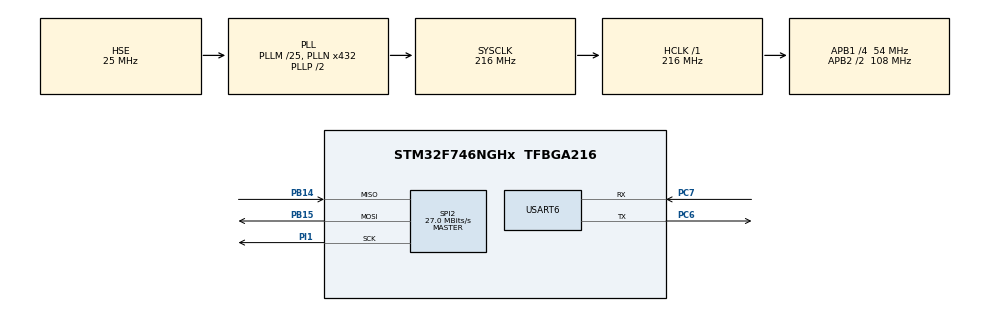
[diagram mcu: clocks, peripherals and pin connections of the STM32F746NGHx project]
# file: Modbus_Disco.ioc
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CRC.CRCLength=CRC_POLYLENGTH_16B
CRC.DefaultInitValueUse=DEFAULT_INIT_VALUE_DISABLE
CRC.DefaultPolynomialUse=DEFAULT_POLYNOMIAL_DISABLE
CRC.GeneratingPolynomial=X15+X2+X0
CRC.InitValue=0xFFFF
CRC.InputDataInversionMode=CRC_INPUTDATA_INVERSION_BYTE
CRC.OutputDataInversionMode=CRC_OUTPUTDATA_INVERSION_ENABLE
Dma.Request0=USART6_RX
Dma.Request1=USART6_TX
Dma.USART6_RX.0.Direction=DMA_PERIPH_TO_MEMORY
Dma.USART6_RX.0.FIFOMode=DMA_FIFOMODE_DISABLE
Dma.USART6_RX.0.Instance=DMA2_Stream1
Dma.USART6_RX.0.MemDataAlignment=DMA_MDATAALIGN_BYTE
Dma.USART6_RX.0.MemInc=DMA_MINC_ENABLE
Dma.USART6_RX.0.Mode=DMA_NORMAL
Dma.USART6_RX.0.PeriphDataAlignment=DMA_PDATAALIGN_BYTE
Dma.USART6_RX.0.PeriphInc=DMA_PINC_DISABLE
Dma.USART6_RX.0.Priority=DMA_PRIORITY_MEDIUM
Dma.USART6_TX.1.Direction=DMA_MEMORY_TO_PERIPH
Dma.USART6_TX.1.FIFOMode=DMA_FIFOMODE_DISABLE
Dma.USART6_TX.1.Instance=DMA2_Stream6
Dma.USART6_TX.1.MemDataAlignment=DMA_MDATAALIGN_BYTE
Dma.USART6_TX.1.MemInc=DMA_MINC_ENABLE
Dma.USART6_TX.1.Mode=DMA_NORMAL
Dma.USART6_TX.1.PeriphDataAlignment=DMA_PDATAALIGN_BYTE
Dma.USART6_TX.1.PeriphInc=DMA_PINC_DISABLE
Dma.USART6_TX.1.Priority=DMA_PRIORITY_MEDIUM
FREERTOS.Tasks01=defaultTask,0,128,StartDefaultTask,Default,NULL,Dynamic,NULL,NULL
FREERTOS.configGENERATE_RUN_TIME_STATS=1
FREERTOS.configTOTAL_HEAP_SIZE=32768
FREERTOS.configUSE_STATS_FORMATTING_FUNCTIONS=1
FREERTOS.configUSE_TRACE_FACILITY=1
Mcu.Family=STM32F7
Mcu.Name=STM32F746NGHx
Mcu.Package=TFBGA216
NVIC.DMA2_Stream1_IRQn=true\:5\:0\:false\:false\:true\:true\:false
NVIC.DMA2_Stream6_IRQn=true\:5\:0\:false\:false\:true\:true\:false
NVIC.PriorityGroup=NVIC_PRIORITYGROUP_4
NVIC.TIM1_UP_TIM10_IRQn=true\:0\:0\:false\:false\:true\:false\:false
NVIC.TimeBase=TIM1_UP_TIM10_IRQn
NVIC.TimeBaseIP=TIM1
NVIC.USART6_IRQn=true\:5\:0\:false\:false\:true\:true\:true
PA13.Mode=Serial_Wire
PA13.Signal=SYS_JTMS-SWDIO
PA14.Mode=Serial_Wire
PA14.Signal=SYS_JTCK-SWCLK
PB14.Mode=Full_Duplex_Master
PB14.Signal=SPI2_MISO
PB15.Mode=Full_Duplex_Master
PB15.Signal=SPI2_MOSI
PC6.Mode=Asynchronous
PC6.Signal=USART6_TX
PC7.Mode=Asynchronous
PC7.Signal=USART6_RX
PH0/OSC_IN.Mode=HSE-External-Oscillator
PH0/OSC_IN.Signal=RCC_OSC_IN
PH1/OSC_OUT.Mode=HSE-External-Oscillator
PH1/OSC_OUT.Signal=RCC_OSC_OUT
PI1.Mode=Full_Duplex_Master
PI1.Signal=SPI2_SCK
ProjectManager.HeapSize=0x2000
ProjectManager.StackSize=0x4000
ProjectManager.TargetToolchain=Other Toolchains (GPDSC)
RCC.AHBFreq_Value=216000000
RCC.APB1CLKDivider=RCC_HCLK_DIV4
RCC.APB1Freq_Value=54000000
RCC.APB1TimFreq_Value=108000000
RCC.APB2CLKDivider=RCC_HCLK_DIV2
RCC.APB2Freq_Value=108000000
RCC.APB2TimFreq_Value=216000000
RCC.CortexFreq_Value=216000000
RCC.HCLKFreq_Value=216000000
RCC.HSE_VALUE=25000000
RCC.HSI_VALUE=16000000
RCC.LSE_VALUE=32768
RCC.PLLM=25
RCC.PLLN=432
RCC.PLLQ=9
RCC.PLLSourceVirtual=RCC_PLLSOURCE_HSE
RCC.SYSCLKFreq_VALUE=216000000
RCC.SYSCLKSource=RCC_SYSCLKSOURCE_PLLCLK
RCC.USBFreq_Value=48000000
RCC.VCOOutputFreq_Value=432000000
SPI2.CalculateBaudRate=27.0 MBits/s
SPI2.Direction=SPI_DIRECTION_2LINES
SPI2.Mode=SPI_MODE_MASTER
SPI2.VirtualType=VM_MASTER
TIM5.AutoReloadPreload=TIM_AUTORELOAD_PRELOAD_ENABLE
TIM5.Period=0xFFFFFFFF
TIM5.Prescaler=107
USART6.DMADisableonRxErrorParam=ADVFEATURE_DMA_DISABLEONRXERROR
USART6.OverrunDisableParam=ADVFEATURE_OVERRUN_DISABLE
USART6.VirtualMode-Asynchronous=VM_ASYNC
VP_CRC_VS_CRC.Mode=CRC_Activate
VP_FREERTOS_VS_ENABLE.Mode=Enabled
VP_RNG_VS_RNG.Mode=RNG_Activate
VP_SYS_VS_tim1.Mode=TIM1
VP_TIM5_VS_ClockSourceINT.Mode=Internal
board=custom

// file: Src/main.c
/**
  ******************************************************************************
  * @file           : main.c
  * @brief          : Main program body
  ******************************************************************************
  * This notice applies to any and all portions of this file
  * that are not between comment pairs USER CODE BEGIN and
  * USER CODE END. Other portions of this file, whether
  * inserted by the user or by software development tools
  * are owned by their respective copyright owners.
  *
  * Copyright (c) 2020 STMicroelectronics International N.V.
  * All rights reserved.
  *
  * Redistribution and use in source and binary forms, with or without
  * modification, are permitted, provided that the following conditions are met:
  *
  * 1. Redistribution of source code must retain the above copyright notice,
  *    this list of conditions and the following disclaimer.
  * 2. Redistributions in binary form must reproduce the above copyright notice,
  *    this list of conditions and the following disclaimer in the documentation
  *    and/or other materials provided with the distribution.
  * 3. Neither the name of STMicroelectronics nor the names of other
  *    contributors to this software may be used to endorse or promote products
  *    derived from this software without specific written permission.
  * 4. This software, including modifications and/or derivative works of this
  *    software, must execute solely and exclusively on microcontroller or
  *    microprocessor devices manufactured by or for STMicroelectronics.
  * 5. Redistribution and use of this software other than as permitted under
  *    this license is void and will automatically terminate your rights under
  *    this license.
  *
  * THIS SOFTWARE IS PROVIDED BY STMICROELECTRONICS AND CONTRIBUTORS "AS IS"
  * AND ANY EXPRESS, IMPLIED OR STATUTORY WARRANTIES, INCLUDING, BUT NOT
  * LIMITED TO, THE IMPLIED WARRANTIES OF MERCHANTABILITY, FITNESS FOR A
  * PARTICULAR PURPOSE AND NON-INFRINGEMENT OF THIRD PARTY INTELLECTUAL PROPERTY
  * RIGHTS ARE DISCLAIMED TO THE FULLEST EXTENT PERMITTED BY LAW. IN NO EVENT
  * SHALL STMICROELECTRONICS OR CONTRIBUTORS BE LIABLE FOR ANY DIRECT, INDIRECT,
  * INCIDENTAL, SPECIAL, EXEMPLARY, OR CONSEQUENTIAL DAMAGES (INCLUDING, BUT NOT
  * LIMITED TO, PROCUREMENT OF SUBSTITUTE GOODS OR SERVICES; LOSS OF USE, DATA,
  * OR PROFITS; OR BUSINESS INTERRUPTION) HOWEVER CAUSED AND ON ANY THEORY OF
  * LIABILITY, WHETHER IN CONTRACT, STRICT LIABILITY, OR TORT (INCLUDING
  * NEGLIGENCE OR OTHERWISE) ARISING IN ANY WAY OUT OF THE USE OF THIS SOFTWARE,
  * EVEN IF ADVISED OF THE POSSIBILITY OF SUCH DAMAGE.
  *
  ******************************************************************************
  */
#include "main.h"
#include "stm32f7xx_hal.h"
#include "cmsis_os.h"

/* USER CODE BEGIN Includes */
#include "mb_master.h"
#include "mb_slave.h"
#include "data_structs.h"

/* USER CODE END Includes */

CRC_HandleTypeDef hcrc;

RNG_HandleTypeDef hrng;

SPI_HandleTypeDef hspi2;

TIM_HandleTypeDef htim5;

UART_HandleTypeDef huart6;
DMA_HandleTypeDef hdma_usart6_rx;
DMA_HandleTypeDef hdma_usart6_tx;

osThreadId defaultTaskHandle;

/* USER CODE BEGIN PV */
/* Private variables ---------------------------------------------------------*/

/* USER CODE END PV */

void SystemClock_Config(void);
static void MX_GPIO_Init(void);
static void MX_DMA_Init(void);
static void MX_CRC_Init(void);
static void MX_USART6_UART_Init(void);
static void MX_TIM5_Init(void);
static void MX_SPI2_Init(void);
static void MX_RNG_Init(void);
void StartDefaultTask(void const * argument);

/* USER CODE BEGIN PFP */
/* Private function prototypes -----------------------------------------------*/

/* USER CODE END PFP */

/* USER CODE BEGIN 0 */
xSemaphoreHandle float_mutex = NULL;
uint8_t testInpReg00_10[20] =
	{1, 2, 3, 4, 5, 6, 7, 8, 9, 0, 11, 12, 13, 14, 15, 16, 17, 18, 19, 20};

uint16_t testInpReg30_40[10] =
	{512, 2000, 3000, 4000, 5000, 6000, 7000, 256, 256, 512};

float testInpReg40_50[5] =
	{3.14f, 1.01f, 2.02f, 3.03f, 4.04f};

DS_Device_Info_16 Device_Info_16 =
	{0x5264, 1, 0, 0, 0, 1, 2, 0};
DS_Device_Info_Str Device_Info_Str =
	{"R100.1", "1.00", "15.01.2021", "No note"};

xSemaphoreHandle Device_Info_Mutex = NULL;

MB_SlaveReg_t MB_Reg[] =
	{
		//Регистры в которых содержится информация о приборе
		{MB_REG_INPUT, 0, 7, &Device_Info_16, sizeof(Device_Info_16), &Device_Info_Mutex, NULL, MB_RF_BIG_ENDIAN},
		{MB_REG_INPUT, 8, 95, &Device_Info_Str, sizeof(Device_Info_Str), &Device_Info_Mutex, NULL, MB_RF_DATA},

		//Настройки c 5000
		//Настройка Slave ID
		//{MB_REG_HOLDING, 5000, 5000, testInpReg40_50, 20, &float_mutex, NULL, MB_RF_BIG_ENDIAN},

		{MB_REG_HOLDING, 30, 39, testInpReg30_40, 10, NULL, NULL, MB_RF_DATA},
		{MB_REG_HOLDING, 40, 49, testInpReg40_50, 20, &float_mutex, NULL, MB_RF_BIG_ENDIAN},

		{MB_REG_INPUT, 1000, 1009, testInpReg00_10, 20, NULL, NULL, MB_RF_DATA},
		{MB_REG_INPUT, 1030, 1039, testInpReg30_40, 19, NULL, NULL, MB_RF_DATA},
		{MB_REG_INPUT, 1040, 1049, testInpReg40_50, 20, &float_mutex, NULL, MB_RF_DATA},
		{MB_REG_INPUT, 0, 0, NULL, 0, NULL, NULL, MB_RF_DATA} //конец
	};

/* USER CODE END 0 */

int main(void)
{

  /* MCU Configuration----------------------------------------------------------*/

  /* Reset of all peripherals, Initializes the Flash interface and the Systick. */
  HAL_Init();

  /* Configure the system clock */
  SystemClock_Config();

  /* Initialize all configured peripherals */
  MX_GPIO_Init();
  MX_DMA_Init();
  MX_CRC_Init();
  MX_USART6_UART_Init();
  MX_TIM5_Init();
  MX_SPI2_Init();
  MX_RNG_Init();
  /* USER CODE BEGIN 2 */

  __HAL_DBGMCU_FREEZE_IWDG();
  __HAL_DBGMCU_FREEZE_TIM1();

  float_mutex = xSemaphoreCreateMutex();
  Device_Info_Mutex = xSemaphoreCreateMutex();
  MB_Slave_Init_Registers(MB_Reg);
  MB_Slave_Init_RTU(1, &huart6);
  //MB_Slave_Init_RTUs(1,1, &huart6);

  //MB_RTU_Init(&mb_hw);
  //mb_rtu_receive_adu(&mb_hw);

  /* USER CODE END 2 */

  /* Create the thread(s) */
  /* definition and creation of defaultTask */
  osThreadDef(defaultTask, StartDefaultTask, osPriorityNormal, 0, 128);
  defaultTaskHandle = osThreadCreate(osThread(defaultTask), NULL);

  /* Start scheduler */
  osKernelStart();

  /* We should never get here as control is now taken by the scheduler */

  /* Infinite loop */
  while (1)
  {

  }

}

void SystemClock_Config(void)
{

  RCC_OscInitTypeDef RCC_OscInitStruct;
  RCC_ClkInitTypeDef RCC_ClkInitStruct;
  RCC_PeriphCLKInitTypeDef PeriphClkInitStruct;

    /**Configure the main internal regulator output voltage
    */
  __HAL_RCC_PWR_CLK_ENABLE();

  __HAL_PWR_VOLTAGESCALING_CONFIG(PWR_REGULATOR_VOLTAGE_SCALE1);

    /**Initializes the CPU, AHB and APB busses clocks
    */
  RCC_OscInitStruct.OscillatorType = RCC_OSCILLATORTYPE_HSE;
  RCC_OscInitStruct.HSEState = RCC_HSE_ON;
  RCC_OscInitStruct.PLL.PLLState = RCC_PLL_ON;
  RCC_OscInitStruct.PLL.PLLSource = RCC_PLLSOURCE_HSE;
  RCC_OscInitStruct.PLL.PLLM = 25;
  RCC_OscInitStruct.PLL.PLLN = 432;
  RCC_OscInitStruct.PLL.PLLP = RCC_PLLP_DIV2;
  RCC_OscInitStruct.PLL.PLLQ = 9;
  if (HAL_RCC_OscConfig(&RCC_OscInitStruct) != HAL_OK)
  {
    _Error_Handler(__FILE__, __LINE__);
  }

    /**Activate the Over-Drive mode
    */
  if (HAL_PWREx_EnableOverDrive() != HAL_OK)
  {
    _Error_Handler(__FILE__, __LINE__);
  }

    /**Initializes the CPU, AHB and APB busses clocks
    */
  RCC_ClkInitStruct.ClockType = RCC_CLOCKTYPE_HCLK|RCC_CLOCKTYPE_SYSCLK
                              |RCC_CLOCKTYPE_PCLK1|RCC_CLOCKTYPE_PCLK2;
  RCC_ClkInitStruct.SYSCLKSource = RCC_SYSCLKSOURCE_PLLCLK;
  RCC_ClkInitStruct.AHBCLKDivider = RCC_SYSCLK_DIV1;
  RCC_ClkInitStruct.APB1CLKDivider = RCC_HCLK_DIV4;
  RCC_ClkInitStruct.APB2CLKDivider = RCC_HCLK_DIV2;

  if (HAL_RCC_ClockConfig(&RCC_ClkInitStruct, FLASH_LATENCY_7) != HAL_OK)
  {
    _Error_Handler(__FILE__, __LINE__);
  }

  PeriphClkInitStruct.PeriphClockSelection = RCC_PERIPHCLK_USART6|RCC_PERIPHCLK_CLK48;
  PeriphClkInitStruct.Usart6ClockSelection = RCC_USART6CLKSOURCE_PCLK2;
  PeriphClkInitStruct.Clk48ClockSelection = RCC_CLK48SOURCE_PLL;
  if (HAL_RCCEx_PeriphCLKConfig(&PeriphClkInitStruct) != HAL_OK)
  {
    _Error_Handler(__FILE__, __LINE__);
  }

    /**Configure the Systick interrupt time
    */
  HAL_SYSTICK_Config(HAL_RCC_GetHCLKFreq()/1000);

    /**Configure the Systick
    */
  HAL_SYSTICK_CLKSourceConfig(SYSTICK_CLKSOURCE_HCLK);

  /* SysTick_IRQn interrupt configuration */
  HAL_NVIC_SetPriority(SysTick_IRQn, 15, 0);
}

/* CRC init function */
static void MX_CRC_Init(void)
{

  hcrc.Instance = CRC;
  hcrc.Init.DefaultPolynomialUse = DEFAULT_POLYNOMIAL_DISABLE;
  hcrc.Init.DefaultInitValueUse = DEFAULT_INIT_VALUE_DISABLE;
  hcrc.Init.GeneratingPolynomial = 32773;
  hcrc.Init.CRCLength = CRC_POLYLENGTH_16B;
  hcrc.Init.InitValue = 0xFFFF;
  hcrc.Init.InputDataInversionMode = CRC_INPUTDATA_INVERSION_BYTE;
  hcrc.Init.OutputDataInversionMode = CRC_OUTPUTDATA_INVERSION_ENABLE;
  hcrc.InputDataFormat = CRC_INPUTDATA_FORMAT_BYTES;
  if (HAL_CRC_Init(&hcrc) != HAL_OK)
  {
    _Error_Handler(__FILE__, __LINE__);
  }

}

/* RNG init function */
static void MX_RNG_Init(void)
{

  hrng.Instance = RNG;
  if (HAL_RNG_Init(&hrng) != HAL_OK)
  {
    _Error_Handler(__FILE__, __LINE__);
  }

}

/* SPI2 init function */
static void MX_SPI2_Init(void)
{

  /* SPI2 parameter configuration*/
  hspi2.Instance = SPI2;
  hspi2.Init.Mode = SPI_MODE_MASTER;
  hspi2.Init.Direction = SPI_DIRECTION_2LINES;
  hspi2.Init.DataSize = SPI_DATASIZE_4BIT;
  hspi2.Init.CLKPolarity = SPI_POLARITY_LOW;
  hspi2.Init.CLKPhase = SPI_PHASE_1EDGE;
  hspi2.Init.NSS = SPI_NSS_SOFT;
  hspi2.Init.BaudRatePrescaler = SPI_BAUDRATEPRESCALER_2;
  hspi2.Init.FirstBit = SPI_FIRSTBIT_MSB;
  hspi2.Init.TIMode = SPI_TIMODE_DISABLE;
  hspi2.Init.CRCCalculation = SPI_CRCCALCULATION_DISABLE;
  hspi2.Init.CRCPolynomial = 7;
  hspi2.Init.CRCLength = SPI_CRC_LENGTH_DATASIZE;
  hspi2.Init.NSSPMode = SPI_NSS_PULSE_ENABLE;
  if (HAL_SPI_Init(&hspi2) != HAL_OK)
  {
    _Error_Handler(__FILE__, __LINE__);
  }

}

/* TIM5 init function */
static void MX_TIM5_Init(void)
{

  TIM_ClockConfigTypeDef sClockSourceConfig;
  TIM_MasterConfigTypeDef sMasterConfig;

  htim5.Instance = TIM5;
  htim5.Init.Prescaler = 107;
  htim5.Init.CounterMode = TIM_COUNTERMODE_UP;
  htim5.Init.Period = 0xFFFFFFFF;
  htim5.Init.ClockDivision = TIM_CLOCKDIVISION_DIV1;
  htim5.Init.AutoReloadPreload = TIM_AUTORELOAD_PRELOAD_ENABLE;
  if (HAL_TIM_Base_Init(&htim5) != HAL_OK)
  {
    _Error_Handler(__FILE__, __LINE__);
  }

  sClockSourceConfig.ClockSource = TIM_CLOCKSOURCE_INTERNAL;
  if (HAL_TIM_ConfigClockSource(&htim5, &sClockSourceConfig) != HAL_OK)
  {
    _Error_Handler(__FILE__, __LINE__);
  }

  sMasterConfig.MasterOutputTrigger = TIM_TRGO_RESET;
  sMasterConfig.MasterSlaveMode = TIM_MASTERSLAVEMODE_DISABLE;
  if (HAL_TIMEx_MasterConfigSynchronization(&htim5, &sMasterConfig) != HAL_OK)
  {
    _Error_Handler(__FILE__, __LINE__);
  }

}

/* USART6 init function */
static void MX_USART6_UART_Init(void)
{

  huart6.Instance = USART6;
  huart6.Init.BaudRate = 115200;
  huart6.Init.WordLength = UART_WORDLENGTH_8B;
  huart6.Init.StopBits = UART_STOPBITS_1;
  huart6.Init.Parity = UART_PARITY_NONE;
  huart6.Init.Mode = UART_MODE_TX_RX;
  huart6.Init.HwFlowCtl = UART_HWCONTROL_NONE;
  huart6.Init.OverSampling = UART_OVERSAMPLING_16;
  huart6.Init.OneBitSampling = UART_ONE_BIT_SAMPLE_DISABLE;
  huart6.AdvancedInit.AdvFeatureInit = UART_ADVFEATURE_RXOVERRUNDISABLE_INIT|UART_ADVFEATURE_DMADISABLEONERROR_INIT;
  huart6.AdvancedInit.OverrunDisable = UART_ADVFEATURE_OVERRUN_DISABLE;
  huart6.AdvancedInit.DMADisableonRxError = UART_ADVFEATURE_DMA_DISABLEONRXERROR;
  if (HAL_UART_Init(&huart6) != HAL_OK)
  {
    _Error_Handler(__FILE__, __LINE__);
  }

}

static void MX_DMA_Init(void)
{
  /* DMA controller clock enable */
  __HAL_RCC_DMA2_CLK_ENABLE();

  /* DMA interrupt init */
  /* DMA2_Stream1_IRQn interrupt configuration */
  HAL_NVIC_SetPriority(DMA2_Stream1_IRQn, 5, 0);
  HAL_NVIC_EnableIRQ(DMA2_Stream1_IRQn);
  /* DMA2_Stream6_IRQn interrupt configuration */
  HAL_NVIC_SetPriority(DMA2_Stream6_IRQn, 5, 0);
  HAL_NVIC_EnableIRQ(DMA2_Stream6_IRQn);

}

/** Configure pins as
        * Analog
        * Input
        * Output
        * EVENT_OUT
        * EXTI
*/
static void MX_GPIO_Init(void)
{

  /* GPIO Ports Clock Enable */
  __HAL_RCC_GPIOA_CLK_ENABLE();
  __HAL_RCC_GPIOI_CLK_ENABLE();
  __HAL_RCC_GPIOH_CLK_ENABLE();
  __HAL_RCC_GPIOC_CLK_ENABLE();
  __HAL_RCC_GPIOB_CLK_ENABLE();

}

float float_buf[100];
void StartDefaultTask(void const * argument)
{

  /* USER CODE BEGIN 5 */

//  uint8_t buf[30];
//  MB_Exception_t ret;
//
//  float_buf[0] = 1.111f;
//  float_buf[1] = 2.111f;
//  float_buf[2] = 3.111f;
//  float_buf[3] = 4.111f;
//  float_buf[49] = 50.111f;
//  float_buf[99] = 100.111f;
//
//  MB_Master_Handle_t mb_master;
//  MB_Master_Init_RTU(&mb_master, &huart6, 100, 3);
//
//  while (true)
//  {
////	  MB_Master_Read_Registers(&mb_master, 1,
////							   MB_REG_INPUT, 0,
////							   buf, 2,
////							   MB_RF_BIG_ENDIAN);
////
////	  MB_Master_Read_Registers(&mb_master, 1,
////							   MB_REG_INPUT, 1,
////							   buf, 8,
////							   MB_RF_BIG_ENDIAN);
//
//
//	 ret = MB_Master_Write_Registers(&mb_master, 1,
//							   MB_REG_HOLDING, 0,
//							   float_buf, 400,
//							   MB_RF_DATA, false);
//
//	  //osDelay(2000);
//
//	  ret = MB_Master_Write_Registers(&mb_master, 1,
//									  MB_REG_HOLDING, 2,
//									  float_buf, 4,
//									  MB_RF_DATA, false);
//
//	  ret = MB_Master_Read_Registers(&mb_master, 1,
//									 MB_REG_HOLDING, 0,
//									 &float_buf[10], 300,
//									 MB_RF_DATA);
//	  //osDelay(2000);
//  }

  /* Infinite loop */
  for(;;)
  {
    osDelay(1);
  }
  /* USER CODE END 5 */
}

void HAL_TIM_PeriodElapsedCallback(TIM_HandleTypeDef *htim)
{
  if (htim->Instance == TIM1) {
    HAL_IncTick();
  }
}

void _Error_Handler(char *file, int line)
{
  while(1)
  {
  }
}

/************************ (C) COPYRIGHT STMicroelectronics *****END OF FILE****/

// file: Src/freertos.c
/* USER CODE BEGIN Header */
/**
  ******************************************************************************
  * File Name          : freertos.c
  * Description        : Code for freertos applications
  ******************************************************************************
  * This notice applies to any and all portions of this file
  * that are not between comment pairs USER CODE BEGIN and
  * USER CODE END. Other portions of this file, whether
  * inserted by the user or by software development tools
  * are owned by their respective copyright owners.
  *
  * Copyright (c) 2020 STMicroelectronics International N.V.
  * All rights reserved.
  *
  * Redistribution and use in source and binary forms, with or without
  * modification, are permitted, provided that the following conditions are met:
  *
  * 1. Redistribution of source code must retain the above copyright notice,
  *    this list of conditions and the following disclaimer.
  * 2. Redistributions in binary form must reproduce the above copyright notice,
  *    this list of conditions and the following disclaimer in the documentation
  *    and/or other materials provided with the distribution.
  * 3. Neither the name of STMicroelectronics nor the names of other
  *    contributors to this software may be used to endorse or promote products
  *    derived from this software without specific written permission.
  * 4. This software, including modifications and/or derivative works of this
  *    software, must execute solely and exclusively on microcontroller or
  *    microprocessor devices manufactured by or for STMicroelectronics.
  * 5. Redistribution and use of this software other than as permitted under
  *    this license is void and will automatically terminate your rights under
  *    this license.
  *
  * THIS SOFTWARE IS PROVIDED BY STMICROELECTRONICS AND CONTRIBUTORS "AS IS"
  * AND ANY EXPRESS, IMPLIED OR STATUTORY WARRANTIES, INCLUDING, BUT NOT
  * LIMITED TO, THE IMPLIED WARRANTIES OF MERCHANTABILITY, FITNESS FOR A
  * PARTICULAR PURPOSE AND NON-INFRINGEMENT OF THIRD PARTY INTELLECTUAL PROPERTY
  * RIGHTS ARE DISCLAIMED TO THE FULLEST EXTENT PERMITTED BY LAW. IN NO EVENT
  * SHALL STMICROELECTRONICS OR CONTRIBUTORS BE LIABLE FOR ANY DIRECT, INDIRECT,
  * INCIDENTAL, SPECIAL, EXEMPLARY, OR CONSEQUENTIAL DAMAGES (INCLUDING, BUT NOT
  * LIMITED TO, PROCUREMENT OF SUBSTITUTE GOODS OR SERVICES; LOSS OF USE, DATA,
  * OR PROFITS; OR BUSINESS INTERRUPTION) HOWEVER CAUSED AND ON ANY THEORY OF
  * LIABILITY, WHETHER IN CONTRACT, STRICT LIABILITY, OR TORT (INCLUDING
  * NEGLIGENCE OR OTHERWISE) ARISING IN ANY WAY OUT OF THE USE OF THIS SOFTWARE,
  * EVEN IF ADVISED OF THE POSSIBILITY OF SUCH DAMAGE.
  *
  ******************************************************************************
  */
/* USER CODE END Header */

#include "FreeRTOS.h"
#include "task.h"
#include "main.h"

/* Hook prototypes */
void configureTimerForRunTimeStats(void);
unsigned long getRunTimeCounterValue(void);

/* USER CODE BEGIN 1 */
/* Functions needed when configGENERATE_RUN_TIME_STATS is on */
void configureTimerForRunTimeStats(void)
{

}

unsigned long getRunTimeCounterValue(void)
{
return 0;
}
/* USER CODE END 1 */

/************************ (C) COPYRIGHT STMicroelectronics *****END OF FILE****/
